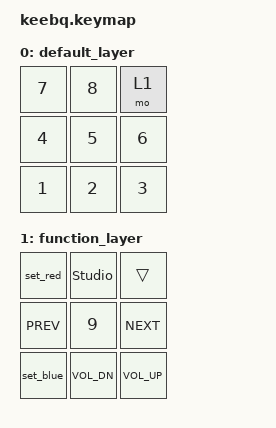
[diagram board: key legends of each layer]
#include <behaviors.dtsi>
#include <dt-bindings/zmk/keys.h>
#include <dt-bindings/zmk/rgb.h>

/ {
    keymap {
        compatible = "zmk,keymap";
        default_layer {
            bindings = <
                &kp N7  &kp N8    &mo 1
                &kp N4  &kp N5    &kp N6
                &kp N1  &kp N2    &kp N3
            >;
        };

        function_layer {
            bindings = <
                &set_red      &studio_unlock       &trans
                &kp C_PREV  &kp N9       &kp C_NEXT
                &set_blue  &kp C_VOL_DN &kp C_VOL_UP
            >;
        };
    };

    macros {
        // Macro: activate layer 1 + set blue
        layer1_blue: layer1_blue {
            compatible = "zmk,behavior-macro";
            #binding-cells = <0>;
            bindings = <&rgb_ug RGB_COLOR_HSB(240,100,50)>;
        };

        // Macro: set red (for layer 2)
        set_red: set_red {
            compatible = "zmk,behavior-macro";
            #binding-cells = <0>;
            bindings = <&rgb_ug RGB_COLOR_HSB(0,100,50)>;
        };

        // Macro: set blue (for layer 1)  
        set_blue: set_blue {
             compatible = "zmk,behavior-macro";
            #binding-cells = <0>;
            bindings = <&rgb_ug RGB_COLOR_HSB(240,100,50)>;
        };
    };
};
